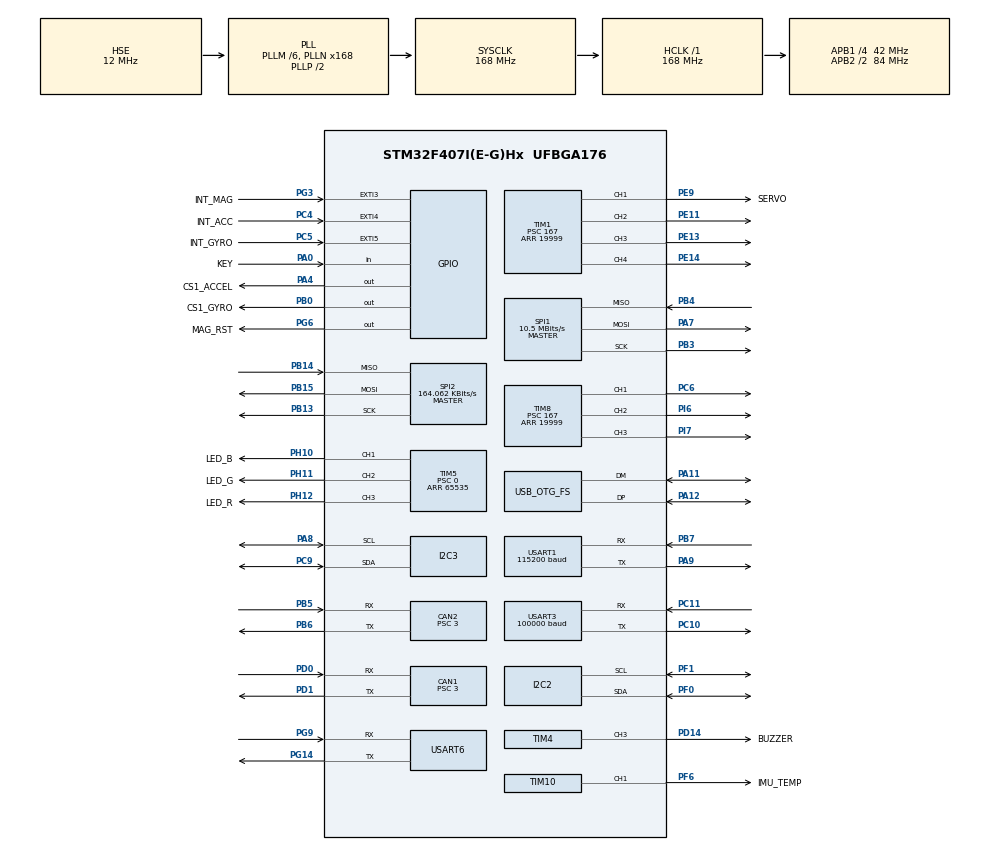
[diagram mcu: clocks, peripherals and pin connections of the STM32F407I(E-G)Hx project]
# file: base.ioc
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ADC1.Channel-0\#ChannelRegularConversion=ADC_CHANNEL_TEMPSENSOR
ADC1.ClockPrescaler=ADC_CLOCK_SYNC_PCLK_DIV6
ADC1.NbrOfConversionFlag=1
ADC1.Rank-0\#ChannelRegularConversion=1
ADC1.SamplingTime-0\#ChannelRegularConversion=ADC_SAMPLETIME_3CYCLES
ADC1.master=1
CAN1.BS1=CAN_BS1_10TQ
CAN1.BS2=CAN_BS2_3TQ
CAN1.CalculateBaudRate=1000000
CAN1.CalculateTimeQuantum=71.42857142857143
CAN1.NART=ENABLE
CAN1.Prescaler=3
CAN1.TXFP=ENABLE
CAN2.BS1=CAN_BS1_10TQ
CAN2.BS2=CAN_BS2_3TQ
CAN2.CalculateBaudRate=1000000
CAN2.CalculateTimeQuantum=71.42857142857143
CAN2.NART=ENABLE
CAN2.Prescaler=3
CAN2.TXFP=ENABLE
Dma.I2C2_RX.6.Direction=DMA_PERIPH_TO_MEMORY
Dma.I2C2_RX.6.FIFOMode=DMA_FIFOMODE_DISABLE
Dma.I2C2_RX.6.Instance=DMA1_Stream2
Dma.I2C2_RX.6.MemDataAlignment=DMA_MDATAALIGN_BYTE
Dma.I2C2_RX.6.MemInc=DMA_MINC_ENABLE
Dma.I2C2_RX.6.Mode=DMA_NORMAL
Dma.I2C2_RX.6.PeriphDataAlignment=DMA_PDATAALIGN_BYTE
Dma.I2C2_RX.6.PeriphInc=DMA_PINC_DISABLE
Dma.I2C2_RX.6.Priority=DMA_PRIORITY_LOW
Dma.I2C2_TX.7.Direction=DMA_MEMORY_TO_PERIPH
Dma.I2C2_TX.7.FIFOMode=DMA_FIFOMODE_DISABLE
Dma.I2C2_TX.7.Instance=DMA1_Stream7
Dma.I2C2_TX.7.MemDataAlignment=DMA_MDATAALIGN_BYTE
Dma.I2C2_TX.7.MemInc=DMA_MINC_ENABLE
Dma.I2C2_TX.7.Mode=DMA_NORMAL
Dma.I2C2_TX.7.PeriphDataAlignment=DMA_PDATAALIGN_BYTE
Dma.I2C2_TX.7.PeriphInc=DMA_PINC_DISABLE
Dma.I2C2_TX.7.Priority=DMA_PRIORITY_LOW
Dma.Request0=USART6_RX
Dma.Request1=USART6_TX
Dma.Request2=USART1_TX
Dma.Request3=USART1_RX
Dma.Request4=SPI1_RX
Dma.Request5=USART3_RX
Dma.Request6=I2C2_RX
Dma.Request7=I2C2_TX
Dma.Request8=SPI1_TX
Dma.SPI1_RX.4.Direction=DMA_PERIPH_TO_MEMORY
Dma.SPI1_RX.4.FIFOMode=DMA_FIFOMODE_ENABLE
Dma.SPI1_RX.4.FIFOThreshold=DMA_FIFO_THRESHOLD_FULL
Dma.SPI1_RX.4.Instance=DMA2_Stream0
Dma.SPI1_RX.4.MemBurst=DMA_MBURST_SINGLE
Dma.SPI1_RX.4.MemDataAlignment=DMA_MDATAALIGN_BYTE
Dma.SPI1_RX.4.MemInc=DMA_MINC_ENABLE
Dma.SPI1_RX.4.Mode=DMA_NORMAL
Dma.SPI1_RX.4.PeriphBurst=DMA_PBURST_SINGLE
Dma.SPI1_RX.4.PeriphDataAlignment=DMA_PDATAALIGN_BYTE
Dma.SPI1_RX.4.PeriphInc=DMA_PINC_DISABLE
Dma.SPI1_RX.4.Priority=DMA_PRIORITY_HIGH
Dma.SPI1_TX.8.Direction=DMA_MEMORY_TO_PERIPH
Dma.SPI1_TX.8.FIFOMode=DMA_FIFOMODE_DISABLE
Dma.SPI1_TX.8.Instance=DMA2_Stream3
Dma.SPI1_TX.8.MemDataAlignment=DMA_MDATAALIGN_BYTE
Dma.SPI1_TX.8.MemInc=DMA_MINC_ENABLE
Dma.SPI1_TX.8.Mode=DMA_NORMAL
Dma.SPI1_TX.8.PeriphDataAlignment=DMA_PDATAALIGN_BYTE
Dma.SPI1_TX.8.PeriphInc=DMA_PINC_DISABLE
Dma.SPI1_TX.8.Priority=DMA_PRIORITY_HIGH
Dma.USART1_RX.3.Direction=DMA_PERIPH_TO_MEMORY
Dma.USART1_RX.3.FIFOMode=DMA_FIFOMODE_DISABLE
Dma.USART1_RX.3.Instance=DMA2_Stream5
Dma.USART1_RX.3.MemDataAlignment=DMA_MDATAALIGN_BYTE
Dma.USART1_RX.3.MemInc=DMA_MINC_ENABLE
Dma.USART1_RX.3.Mode=DMA_NORMAL
Dma.USART1_RX.3.PeriphDataAlignment=DMA_PDATAALIGN_BYTE
Dma.USART1_RX.3.PeriphInc=DMA_PINC_DISABLE
Dma.USART1_RX.3.Priority=DMA_PRIORITY_VERY_HIGH
Dma.USART1_TX.2.Direction=DMA_MEMORY_TO_PERIPH
Dma.USART1_TX.2.FIFOMode=DMA_FIFOMODE_DISABLE
Dma.USART1_TX.2.Instance=DMA2_Stream7
Dma.USART1_TX.2.MemDataAlignment=DMA_MDATAALIGN_BYTE
Dma.USART1_TX.2.MemInc=DMA_MINC_ENABLE
Dma.USART1_TX.2.Mode=DMA_NORMAL
Dma.USART1_TX.2.PeriphDataAlignment=DMA_PDATAALIGN_BYTE
Dma.USART1_TX.2.PeriphInc=DMA_PINC_DISABLE
Dma.USART1_TX.2.Priority=DMA_PRIORITY_VERY_HIGH
Dma.USART3_RX.5.Direction=DMA_PERIPH_TO_MEMORY
Dma.USART3_RX.5.FIFOMode=DMA_FIFOMODE_DISABLE
Dma.USART3_RX.5.Instance=DMA1_Stream1
Dma.USART3_RX.5.MemDataAlignment=DMA_MDATAALIGN_BYTE
Dma.USART3_RX.5.MemInc=DMA_MINC_ENABLE
Dma.USART3_RX.5.Mode=DMA_NORMAL
Dma.USART3_RX.5.PeriphDataAlignment=DMA_PDATAALIGN_BYTE
Dma.USART3_RX.5.PeriphInc=DMA_PINC_DISABLE
Dma.USART3_RX.5.Priority=DMA_PRIORITY_LOW
Dma.USART6_RX.0.Direction=DMA_PERIPH_TO_MEMORY
Dma.USART6_RX.0.FIFOMode=DMA_FIFOMODE_ENABLE
Dma.USART6_RX.0.FIFOThreshold=DMA_FIFO_THRESHOLD_FULL
Dma.USART6_RX.0.Instance=DMA2_Stream2
Dma.USART6_RX.0.MemBurst=DMA_MBURST_SINGLE
Dma.USART6_RX.0.MemDataAlignment=DMA_MDATAALIGN_BYTE
Dma.USART6_RX.0.MemInc=DMA_MINC_ENABLE
Dma.USART6_RX.0.Mode=DMA_NORMAL
Dma.USART6_RX.0.PeriphBurst=DMA_PBURST_SINGLE
Dma.USART6_RX.0.PeriphDataAlignment=DMA_PDATAALIGN_BYTE
Dma.USART6_RX.0.PeriphInc=DMA_PINC_DISABLE
Dma.USART6_RX.0.Priority=DMA_PRIORITY_HIGH
Dma.USART6_TX.1.Direction=DMA_MEMORY_TO_PERIPH
Dma.USART6_TX.1.FIFOMode=DMA_FIFOMODE_ENABLE
Dma.USART6_TX.1.FIFOThreshold=DMA_FIFO_THRESHOLD_FULL
Dma.USART6_TX.1.Instance=DMA2_Stream6
Dma.USART6_TX.1.MemBurst=DMA_MBURST_SINGLE
Dma.USART6_TX.1.MemDataAlignment=DMA_MDATAALIGN_BYTE
Dma.USART6_TX.1.MemInc=DMA_MINC_ENABLE
Dma.USART6_TX.1.Mode=DMA_NORMAL
Dma.USART6_TX.1.PeriphBurst=DMA_PBURST_SINGLE
Dma.USART6_TX.1.PeriphDataAlignment=DMA_PDATAALIGN_BYTE
Dma.USART6_TX.1.PeriphInc=DMA_PINC_DISABLE
Dma.USART6_TX.1.Priority=DMA_PRIORITY_HIGH
FREERTOS.INCLUDE_pcTaskGetTaskName=1
FREERTOS.INCLUDE_vTaskDelayUntil=1
FREERTOS.Tasks01=defaultTask,24,128,StartDefaultTask,Default,NULL,Dynamic,NULL,NULL
FREERTOS.configENABLE_FPU=1
FREERTOS.configGENERATE_RUN_TIME_STATS=0
FREERTOS.configMAX_TASK_NAME_LEN=32
FREERTOS.configRECORD_STACK_HIGH_ADDRESS=1
FREERTOS.configTOTAL_HEAP_SIZE=20000
FREERTOS.configUSE_COUNTING_SEMAPHORES=1
FREERTOS.configUSE_POSIX_ERRNO=0
FREERTOS.configUSE_STATS_FORMATTING_FUNCTIONS=1
FREERTOS.configUSE_TIMERS=0
I2C2.I2C_Mode=I2C_Fast
I2C3.I2C_Mode=I2C_Fast
Mcu.Family=STM32F4
Mcu.Name=STM32F407I(E-G)Hx
Mcu.Package=UFBGA176
NVIC.CAN1_RX0_IRQn=true\:5\:0\:true\:false\:true\:true\:true\:true\:true
NVIC.CAN1_RX1_IRQn=true\:5\:0\:false\:false\:true\:true\:true\:true\:true
NVIC.CAN2_RX0_IRQn=true\:5\:0\:true\:false\:true\:true\:true\:true\:true
NVIC.CAN2_RX1_IRQn=true\:5\:0\:false\:false\:true\:true\:true\:true\:true
NVIC.DMA1_Stream1_IRQn=true\:5\:0\:false\:false\:true\:true\:false\:true\:true
NVIC.DMA1_Stream2_IRQn=true\:5\:0\:false\:false\:true\:true\:false\:true\:true
NVIC.DMA1_Stream7_IRQn=true\:5\:0\:false\:false\:true\:true\:false\:true\:true
NVIC.DMA2_Stream0_IRQn=true\:5\:0\:false\:false\:true\:false\:false\:true\:true
NVIC.DMA2_Stream2_IRQn=true\:5\:0\:false\:false\:true\:true\:false\:true\:true
NVIC.DMA2_Stream3_IRQn=true\:5\:0\:false\:false\:true\:false\:false\:true\:true
NVIC.DMA2_Stream5_IRQn=true\:5\:0\:false\:false\:true\:false\:false\:true\:true
NVIC.DMA2_Stream6_IRQn=true\:5\:0\:true\:false\:true\:true\:false\:true\:true
NVIC.DMA2_Stream7_IRQn=true\:5\:0\:true\:false\:true\:true\:false\:true\:true
NVIC.EXTI3_IRQn=true\:5\:0\:true\:false\:true\:true\:true\:true\:true
NVIC.EXTI4_IRQn=true\:5\:0\:false\:false\:true\:true\:true\:true\:true
NVIC.EXTI9_5_IRQn=true\:5\:0\:false\:false\:true\:true\:true\:true\:true
NVIC.FLASH_IRQn=true\:6\:0\:true\:false\:true\:true\:true\:true\:true
NVIC.I2C2_ER_IRQn=true\:5\:0\:false\:false\:true\:true\:true\:true\:true
NVIC.I2C2_EV_IRQn=true\:5\:0\:false\:false\:true\:true\:true\:true\:true
NVIC.I2C3_ER_IRQn=true\:5\:0\:false\:false\:true\:true\:true\:true\:true
NVIC.I2C3_EV_IRQn=true\:5\:0\:false\:false\:true\:true\:true\:true\:true
NVIC.OTG_FS_IRQn=true\:5\:0\:false\:false\:true\:true\:false\:true\:true
NVIC.PriorityGroup=NVIC_PRIORITYGROUP_4
NVIC.SPI1_IRQn=true\:5\:0\:false\:false\:true\:true\:true\:true\:true
NVIC.SPI2_IRQn=true\:5\:0\:false\:false\:true\:true\:true\:true\:true
NVIC.TIM6_DAC_IRQn=true\:5\:0\:true\:false\:true\:true\:true\:true\:true
NVIC.TIM8_TRG_COM_TIM14_IRQn=true\:15\:0\:false\:false\:true\:false\:false\:true\:true
NVIC.TimeBase=TIM8_TRG_COM_TIM14_IRQn
NVIC.TimeBaseIP=TIM14
NVIC.USART1_IRQn=true\:5\:0\:false\:false\:true\:true\:true\:true\:true
NVIC.USART3_IRQn=true\:5\:0\:false\:false\:true\:true\:true\:true\:true
NVIC.USART6_IRQn=true\:5\:0\:false\:false\:true\:true\:true\:true\:true
PA0-WKUP.GPIO_Label=KEY
PA0-WKUP.GPIO_PuPd=GPIO_PULLUP
PA0-WKUP.Signal=GPIO_Input
PA10.Signal=USB_OTG_FS_ID
PA11.Mode=Device_Only
PA11.Signal=USB_OTG_FS_DM
PA12.Mode=Device_Only
PA12.Signal=USB_OTG_FS_DP
PA13.Mode=Serial_Wire
PA13.Signal=SYS_JTMS-SWDIO
PA14.Mode=Serial_Wire
PA14.Signal=SYS_JTCK-SWCLK
PA4.GPIO_Label=CS1_ACCEL
PA4.GPIO_PuPd=GPIO_PULLUP
PA4.GPIO_Speed=GPIO_SPEED_FREQ_HIGH
PA4.PinState=GPIO_PIN_SET
PA4.Signal=GPIO_Output
PA7.GPIO_PuPd=GPIO_PULLUP
PA7.Mode=Full_Duplex_Master
PA7.Signal=SPI1_MOSI
PA8.Mode=I2C
PA8.Signal=I2C3_SCL
PA9.Mode=Asynchronous
PA9.Signal=USART1_TX
PB0.GPIO_Label=CS1_GYRO
PB0.GPIO_PuPd=GPIO_PULLUP
PB0.GPIO_Speed=GPIO_SPEED_FREQ_HIGH
PB0.PinState=GPIO_PIN_SET
PB0.Signal=GPIO_Output
PB13.Mode=Full_Duplex_Master
PB13.Signal=SPI2_SCK
PB14.Mode=Full_Duplex_Master
PB14.Signal=SPI2_MISO
PB15.Mode=Full_Duplex_Master
PB15.Signal=SPI2_MOSI
PB3.GPIO_PuPd=GPIO_PULLUP
PB3.Mode=Full_Duplex_Master
PB3.Signal=SPI1_SCK
PB4.GPIO_PuPd=GPIO_PULLUP
PB4.Mode=Full_Duplex_Master
PB4.Signal=SPI1_MISO
PB5.Mode=CAN_Activate
PB5.Signal=CAN2_RX
PB6.Mode=CAN_Activate
PB6.Signal=CAN2_TX
PB7.Mode=Asynchronous
PB7.Signal=USART1_RX
PC10.Mode=Asynchronous
PC10.Signal=USART3_TX
PC11.Mode=Asynchronous
PC11.Signal=USART3_RX
PC4.GPIO_Label=INT_ACC
PC4.GPIO_ModeDefaultEXTI=GPIO_MODE_IT_FALLING
PC4.Signal=GPXTI4
PC5.GPIO_Label=INT_GYRO
PC5.GPIO_ModeDefaultEXTI=GPIO_MODE_IT_FALLING
PC5.Signal=GPXTI5
PC6.Signal=S_TIM8_CH1
PC9.Mode=I2C
PC9.Signal=I2C3_SDA
PD0.Mode=CAN_Activate
PD0.Signal=CAN1_RX
PD1.Mode=CAN_Activate
PD1.Signal=CAN1_TX
PD14.GPIO_Label=BUZZER
PD14.GPIO_PuPd=GPIO_PULLUP
PD14.GPIO_Speed=GPIO_SPEED_FREQ_VERY_HIGH
PD14.Signal=S_TIM4_CH3
PE11.Signal=S_TIM1_CH2
PE13.Signal=S_TIM1_CH3
PE14.Signal=S_TIM1_CH4
PE9.GPIO_Label=SERVO
PE9.Signal=S_TIM1_CH1
PF0.Mode=I2C
PF0.Signal=I2C2_SDA
PF1.Mode=I2C
PF1.Signal=I2C2_SCL
PF6.GPIO_Label=IMU_TEMP
PF6.GPIO_PuPd=GPIO_PULLUP
PF6.GPIO_Speed=GPIO_SPEED_FREQ_HIGH
PF6.Signal=S_TIM10_CH1
PG14.Mode=Asynchronous
PG14.Signal=USART6_TX
PG3.GPIO_Label=INT_MAG
PG3.GPIO_ModeDefaultEXTI=GPIO_MODE_IT_FALLING
PG3.GPIO_PuPd=GPIO_PULLUP
PG3.Signal=GPXTI3
PG6.GPIO_Label=MAG_RST
PG6.Signal=GPIO_Output
PG9.Mode=Asynchronous
PG9.Signal=USART6_RX
PH0-OSC_IN.Mode=HSE-External-Oscillator
PH0-OSC_IN.Signal=RCC_OSC_IN
PH1-OSC_OUT.Mode=HSE-External-Oscillator
PH1-OSC_OUT.Signal=RCC_OSC_OUT
PH10.GPIO_Label=LED_B
PH10.GPIO_PuPd=GPIO_PULLUP
PH10.GPIO_Speed=GPIO_SPEED_FREQ_HIGH
PH10.Signal=S_TIM5_CH1
PH11.GPIO_Label=LED_G
PH11.GPIO_PuPd=GPIO_PULLUP
PH11.GPIO_Speed=GPIO_SPEED_FREQ_HIGH
PH11.Signal=S_TIM5_CH2
PH12.GPIO_Label=LED_R
PH12.GPIO_PuPd=GPIO_PULLUP
PH12.GPIO_Speed=GPIO_SPEED_FREQ_HIGH
PH12.Signal=S_TIM5_CH3
PI6.Signal=S_TIM8_CH2
PI7.Signal=S_TIM8_CH3
ProjectManager.HeapSize=0x400
ProjectManager.StackSize=0x800
ProjectManager.TargetToolchain=CMake
RCC.48MHZClocksFreq_Value=48000000
RCC.AHBFreq_Value=168000000
RCC.APB1CLKDivider=RCC_HCLK_DIV4
RCC.APB1Freq_Value=42000000
RCC.APB1TimFreq_Value=84000000
RCC.APB2CLKDivider=RCC_HCLK_DIV2
RCC.APB2Freq_Value=84000000
RCC.APB2TimFreq_Value=168000000
RCC.CortexFreq_Value=168000000
RCC.HCLKFreq_Value=168000000
RCC.HSE_VALUE=12000000
RCC.HSI_VALUE=16000000
RCC.LSE_VALUE=32768
RCC.PLLM=6
RCC.PLLN=168
RCC.PLLQ=7
RCC.RCC_RTC_Clock_SourceVirtual=RCC_RTCCLKSOURCE_HSE_DIV30
RCC.RCC_RTC_Clock_Source_FROM_HSE=RCC_RTCCLKSOURCE_HSE_DIV30
RCC.SYSCLKFreq_VALUE=168000000
RCC.SYSCLKSource=RCC_SYSCLKSOURCE_PLLCLK
RCC.VCOOutputFreq_Value=336000000
RTC.AsynchPrediv=124
RTC.SynchPrediv=3199
SH.S_TIM10_CH1.0=TIM10_CH1,PWM Generation1 CH1
SH.S_TIM1_CH1.0=TIM1_CH1,PWM Generation1 CH1
SH.S_TIM1_CH2.0=TIM1_CH2,PWM Generation2 CH2
SH.S_TIM1_CH3.0=TIM1_CH3,PWM Generation3 CH3
SH.S_TIM1_CH4.0=TIM1_CH4,PWM Generation4 CH4
SH.S_TIM4_CH3.0=TIM4_CH3,PWM Generation3 CH3
SH.S_TIM5_CH1.0=TIM5_CH1,PWM Generation1 CH1
SH.S_TIM5_CH2.0=TIM5_CH2,PWM Generation2 CH2
SH.S_TIM5_CH3.0=TIM5_CH3,PWM Generation3 CH3
SH.S_TIM8_CH1.0=TIM8_CH1,Output Compare1 CH1
SH.S_TIM8_CH2.0=TIM8_CH2,Output Compare2 CH2
SH.S_TIM8_CH3.0=TIM8_CH3,Output Compare3 CH3
SPI1.BaudRatePrescaler=SPI_BAUDRATEPRESCALER_8
SPI1.CLKPhase=SPI_PHASE_2EDGE
SPI1.CLKPolarity=SPI_POLARITY_HIGH
SPI1.CalculateBaudRate=10.5 MBits/s
SPI1.Direction=SPI_DIRECTION_2LINES
SPI1.Mode=SPI_MODE_MASTER
SPI1.VirtualType=VM_MASTER
SPI2.BaudRatePrescaler=SPI_BAUDRATEPRESCALER_256
SPI2.CLKPhase=SPI_PHASE_2EDGE
SPI2.CLKPolarity=SPI_POLARITY_HIGH
SPI2.CalculateBaudRate=164.062 KBits/s
SPI2.Direction=SPI_DIRECTION_2LINES
SPI2.Mode=SPI_MODE_MASTER
SPI2.VirtualType=VM_MASTER
STMicroelectronics.X-CUBE-ALGOBUILD.1.4.0.LibraryCcDSPOoLibraryJjDSPOoLibrary=true
TIM1.Channel-PWM\ Generation1\ CH1=TIM_CHANNEL_1
TIM1.Channel-PWM\ Generation2\ CH2=TIM_CHANNEL_2
TIM1.Channel-PWM\ Generation3\ CH3=TIM_CHANNEL_3
TIM1.Channel-PWM\ Generation4\ CH4=TIM_CHANNEL_4
TIM1.Period=19999
TIM1.Prescaler=167
TIM10.Channel=TIM_CHANNEL_1
TIM10.Period=5000-1
TIM10.Prescaler=167
TIM4.Channel-PWM\ Generation3\ CH3=TIM_CHANNEL_3
TIM4.Period=1000-1
TIM4.Prescaler=167
TIM5.Channel-PWM\ Generation1\ CH1=TIM_CHANNEL_1
TIM5.Channel-PWM\ Generation2\ CH2=TIM_CHANNEL_2
TIM5.Channel-PWM\ Generation3\ CH3=TIM_CHANNEL_3
TIM5.Period=65535
TIM5.Prescaler=0
TIM6.AutoReloadPreload=TIM_AUTORELOAD_PRELOAD_ENABLE
TIM6.Period=999
TIM6.Prescaler=8399
TIM8.Channel-Output\ Compare1\ CH1=TIM_CHANNEL_1
TIM8.Channel-Output\ Compare2\ CH2=TIM_CHANNEL_2
TIM8.Channel-Output\ Compare3\ CH3=TIM_CHANNEL_3
TIM8.Period=19999
TIM8.Prescaler=167
USART1.BaudRate=115200
USART1.VirtualMode=VM_ASYNC
USART3.BaudRate=100000
USART3.Parity=PARITY_EVEN
USART3.VirtualMode=VM_ASYNC
USART3.WordLength=WORDLENGTH_9B
USART6.VirtualMode=VM_ASYNC
USB_DEVICE.CLASS_NAME_FS=CDC
USB_DEVICE.VirtualMode-CDC_FS=Cdc
USB_DEVICE.VirtualModeFS=Cdc_FS
USB_OTG_FS.VirtualMode=Device_Only
VP_ADC1_TempSens_Input.Mode=IN-TempSens
VP_ADC1_Vref_Input.Mode=IN-Vrefint
VP_CRC_VS_CRC.Mode=CRC_Activate
VP_FREERTOS_VS_CMSIS_V2.Mode=CMSIS_V2
VP_RNG_VS_RNG.Mode=RNG_Activate
VP_RTC_VS_RTC_Activate.Mode=RTC_Enabled
VP_STMicroelectronics.X-CUBE-ALGOBUILD_VS_DSPOoLibraryJjLibrary_1.4.0_1.4.0.Mode=DSPOoLibraryJjLibrary
VP_SYS_VS_tim14.Mode=TIM14
VP_TIM10_VS_ClockSourceINT.Mode=Enable_Timer
VP_TIM1_VS_ClockSourceINT.Mode=Internal
VP_TIM4_VS_ClockSourceINT.Mode=Internal
VP_TIM5_VS_ClockSourceINT.Mode=Internal
VP_TIM6_VS_ClockSourceINT.Mode=Enable_Timer
VP_TIM8_VS_ClockSourceINT.Mode=Internal
VP_USB_DEVICE_VS_USB_DEVICE_CDC_FS.Mode=CDC_FS
board=custom

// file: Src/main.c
/* USER CODE BEGIN Header */
/**
  ******************************************************************************
  * @file           : main.c
  * @brief          : Main program body
  ******************************************************************************
  * @attention
  *
  * Copyright (c) 2025 STMicroelectronics.
  * All rights reserved.
  *
  * This software is licensed under terms that can be found in the LICENSE file
  * in the root directory of this software component.
  * If no LICENSE file comes with this software, it is provided AS-IS.
  *
  ******************************************************************************
  */
/* USER CODE END Header */
#include "main.h"
#include "BMI088.h"
#include "RGB.h"
#include "cmsis_os.h"
#include "adc.h"
#include "can.h"
#include "crc.h"
#include "dma.h"
#include "i2c.h"
#include "rng.h"
#include "rtc.h"
#include "spi.h"
#include "stm32f407xx.h"
#include "systemwatch.h"
#include "tim.h"
#include "usart.h"
#include "usb_device.h"
#include "gpio.h"

/* USER CODE BEGIN Includes */
#include "SEGGER_RTT.h"
#include "elog.h"
#include "dwt.h"
/* USER CODE END Includes */

void SystemClock_Config(void);
void MX_FREERTOS_Init(void);

int main(void)
{

  /* MCU Configuration--------------------------------------------------------*/

  /* Reset of all peripherals, Initializes the Flash interface and the Systick. */
  HAL_Init();

  /* Configure the system clock */
  SystemClock_Config();

  /* Initialize all configured peripherals */
  MX_GPIO_Init();
  MX_DMA_Init();
  MX_ADC1_Init();
  MX_CAN1_Init();
  MX_CAN2_Init();
  MX_SPI1_Init();
  MX_TIM4_Init();
  MX_TIM5_Init();
  MX_USART3_UART_Init();
  MX_RNG_Init();
  MX_RTC_Init();
  MX_TIM1_Init();
  MX_TIM10_Init();
  MX_USART1_UART_Init();
  MX_USART6_UART_Init();
  MX_TIM8_Init();
  MX_I2C2_Init();
  MX_I2C3_Init();
  MX_SPI2_Init();
  MX_CRC_Init();
  MX_TIM6_Init();
  /* USER CODE BEGIN 2 */
  DWT_Init();
  SEGGER_RTT_Init();
  if (elog_user_init() == ELOG_NO_ERR)
  { elog_start();}
  RGB_init();
  BMI088_init();
  /* USER CODE END 2 */

  /* Init scheduler */
  osKernelInitialize();

  /* Call init function for freertos objects (in cmsis_os2.c) */
  MX_FREERTOS_Init();

  /* Start scheduler */
  osKernelStart();

  /* We should never get here as control is now taken by the scheduler */

  /* Infinite loop */
  while (1)
  {

  }
}

void SystemClock_Config(void)
{
  RCC_OscInitTypeDef RCC_OscInitStruct = {0};
  RCC_ClkInitTypeDef RCC_ClkInitStruct = {0};

  /** Configure the main internal regulator output voltage
  */
  __HAL_RCC_PWR_CLK_ENABLE();
  __HAL_PWR_VOLTAGESCALING_CONFIG(PWR_REGULATOR_VOLTAGE_SCALE1);

  /** Initializes the RCC Oscillators according to the specified parameters
  * in the RCC_OscInitTypeDef structure.
  */
  RCC_OscInitStruct.OscillatorType = RCC_OSCILLATORTYPE_HSE;
  RCC_OscInitStruct.HSEState = RCC_HSE_ON;
  RCC_OscInitStruct.PLL.PLLState = RCC_PLL_ON;
  RCC_OscInitStruct.PLL.PLLSource = RCC_PLLSOURCE_HSE;
  RCC_OscInitStruct.PLL.PLLM = 6;
  RCC_OscInitStruct.PLL.PLLN = 168;
  RCC_OscInitStruct.PLL.PLLP = RCC_PLLP_DIV2;
  RCC_OscInitStruct.PLL.PLLQ = 7;
  if (HAL_RCC_OscConfig(&RCC_OscInitStruct) != HAL_OK)
  {
    Error_Handler();
  }

  /** Initializes the CPU, AHB and APB buses clocks
  */
  RCC_ClkInitStruct.ClockType = RCC_CLOCKTYPE_HCLK|RCC_CLOCKTYPE_SYSCLK
                              |RCC_CLOCKTYPE_PCLK1|RCC_CLOCKTYPE_PCLK2;
  RCC_ClkInitStruct.SYSCLKSource = RCC_SYSCLKSOURCE_PLLCLK;
  RCC_ClkInitStruct.AHBCLKDivider = RCC_SYSCLK_DIV1;
  RCC_ClkInitStruct.APB1CLKDivider = RCC_HCLK_DIV4;
  RCC_ClkInitStruct.APB2CLKDivider = RCC_HCLK_DIV2;

  if (HAL_RCC_ClockConfig(&RCC_ClkInitStruct, FLASH_LATENCY_5) != HAL_OK)
  {
    Error_Handler();
  }
}

void HAL_TIM_PeriodElapsedCallback(TIM_HandleTypeDef *htim)
{
  if (htim->Instance == TIM14)
  {
    HAL_IncTick();
  }
  /* USER CODE BEGIN Callback 1 */
  if (htim->Instance == TIM6)
  {
    sysytemwatch_it_callback();
  }
  /* USER CODE END Callback 1 */
}

void Error_Handler(void)
{
  __disable_irq();
  while (1)
  {
  }
}

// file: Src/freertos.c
/* USER CODE BEGIN Header */
/**
  ******************************************************************************
  * File Name          : freertos.c
  * Description        : Code for freertos applications
  ******************************************************************************
  * @attention
  *
  * Copyright (c) 2025 STMicroelectronics.
  * All rights reserved.
  *
  * This software is licensed under terms that can be found in the LICENSE file
  * in the root directory of this software component.
  * If no LICENSE file comes with this software, it is provided AS-IS.
  *
  ******************************************************************************
  */
/* USER CODE END Header */

#include "FreeRTOS.h"
#include "BMI088.h"
#include "bsp_uart.h"
#include "cmsis_os2.h"
#include "offline.h"
#include "sbus.h"
#include "systemwatch.h"
#include "task.h"
#include "main.h"
#include "cmsis_os.h"

/* USER CODE BEGIN Variables */
static osThreadId_t initTaskHandle;
/* USER CODE END Variables */
/* Definitions for defaultTask */
osThreadId_t defaultTaskHandle;
const osThreadAttr_t defaultTask_attributes = {
  .name = "defaultTask",
  .stack_size = 128 * 4,
  .priority = (osPriority_t) osPriorityNormal,
};

/* USER CODE BEGIN FunctionPrototypes */
void InitTask(void *argument); // 添加初始化任务函数声明
/* USER CODE END FunctionPrototypes */

void StartDefaultTask(void *argument);

extern void MX_USB_DEVICE_Init(void);
void MX_FREERTOS_Init(void); /* (MISRA C 2004 rule 8.1) */

void MX_FREERTOS_Init(void) {
  /* USER CODE BEGIN Init */
  const osThreadAttr_t initTask_attributes = {
    .name = "initTask",
    .stack_size = 256 * 4,      // 初始化任务需要稍大栈空间
    .priority = (osPriority_t) osPriorityRealtime, // 高优先级确保优先执行
  };
  /* USER CODE END Init */

  /* Create the thread(s) */
  /* creation of defaultTask */
  defaultTaskHandle = osThreadNew(StartDefaultTask, NULL, &defaultTask_attributes);

  /* USER CODE BEGIN RTOS_THREADS */
  initTaskHandle = osThreadNew(InitTask, NULL, &initTask_attributes);
  /* USER CODE END RTOS_THREADS */

}

/* USER CODE BEGIN Header_StartDefaultTask */
static BMI088_GET_Data_t bmi088_data;
/**
  * @brief  Function implementing the defaultTask thread.
  * @param  argument: Not used
  * @retval None
  */
/* USER CODE END Header_StartDefaultTask */
void StartDefaultTask(void *argument)
{
  /* init code for USB_DEVICE */
  MX_USB_DEVICE_Init();
  SystemWatch_RegisterTask(defaultTaskHandle,"defaultTask");
  /* USER CODE BEGIN StartDefaultTask */
  /* Infinite loop */
  for(;;)
  {
    SystemWatch_ReportTaskAlive(osThreadGetId());
    bmi088_data=BMI088_GET_DATA();
    osDelay(1);
  }
  /* USER CODE END StartDefaultTask */
}

/* USER CODE BEGIN Application */
void InitTask(void *argument) {
  SystemWatch_Init();
  offline_init();
  Remote_init();
  osThreadExit();
}
/* USER CODE END Application */
